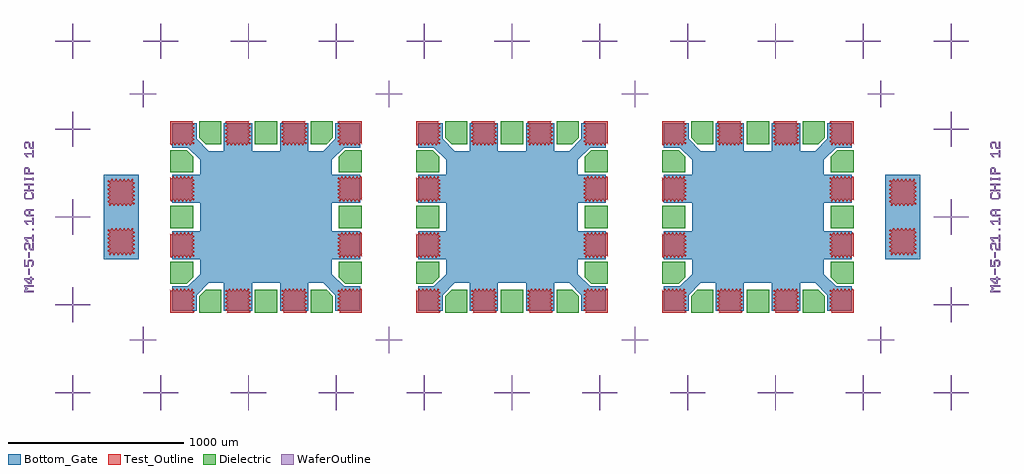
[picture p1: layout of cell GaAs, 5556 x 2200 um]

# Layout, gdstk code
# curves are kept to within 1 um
import gdstk
lib = gdstk.Library(unit=1e-6, precision=1e-09)
def R(c, l, rs):  # rectangles x0, y0, x1, y1
    for r in rs: c.add(gdstk.rectangle(r[:2], r[2:], *l))
def P(c, l, *ps):  # polygons
    for p in ps: c.add(gdstk.Polygon(p, *l))
WaferOutline = (1, 0)
Bottom_Gate = (2, 0)
Test_Outline = (3, 0)
Dielectric = (4, 0)

mesaohmicgate_ray = lib.new_cell('MesaOhmicGate_Ray')
P(mesaohmicgate_ray, Bottom_Gate, [(-535,-535),(-535,-395),(-444.498,-395),(-375,-325.502),(-375,-240),(-535,-240),(-535,-80),(-375,-80),(-375,80),(-535,80),(-535,240),(-375,240),(-375,325.502),(-444.498,395),(-535,395),(-535,535),(-395,535),(-395,444.498),(-325.502,375),(-240,375),(-240,535),(-80,535),(-80,375),(80,375),(80,535),(240,535),(240,375),(325.502,375),(395,444.498),(395,535),(535,535),(535,395),(444.498,395),(375,325.502),(375,240),(535,240),(535,80),(375,80),(375,-80),(535,-80),(535,-240),(375,-240),(375,-325.502),(444.498,-395),(535,-395),(535,-535),(395,-535),(395,-444.498),(325.502,-375),(240,-375),(240,-535),(80,-535),(80,-375),(-80,-375),(-80,-535),(-240,-535),(-240,-375),(-325.502,-375),(-395,-444.498),(-395,-535)])
P(mesaohmicgate_ray, Test_Outline, [(-539.747,408.008),(-545,415),(-545,545),(-415,545),(-421.367,541.061),(-421.615,538.434),(-408.938,530.556),(-408.197,527.929),(-420.702,520.051),(-421.929,517.424),(-409.71,509.545),(-408.008,506.919),(-421.992,496.414),(-420.29,493.788),(-408.938,487.222),(-408.197,484.596),(-420.702,476.717),(-421.929,474.091),(-409.71,466.212),(-408.008,463.586),(-421.992,453.081),(-420.29,450.455),(-408.071,442.576),(-409.298,439.949),(-420.702,433.384),(-421.929,430.758),(-409.71,422.879),(-408.633,418.939),(-415,415),(-418.939,421.367),(-421.566,421.615),(-430.758,408.071),(-433.384,409.298),(-439.949,420.702),(-442.576,421.929),(-450.455,409.71),(-453.081,408.008),(-463.586,421.992),(-466.212,420.29),(-474.091,408.071),(-476.717,409.298),(-483.283,420.702),(-485.909,421.929),(-493.788,409.71),(-496.414,408.008),(-506.919,421.992),(-509.545,420.29),(-517.424,408.071),(-520.051,409.298),(-526.616,420.702),(-529.242,421.929),(-537.121,409.71)],
  [(-219.747,408.008),(-225,415),(-218.633,418.939),(-218.385,421.566),(-231.929,430.758),(-230.702,433.384),(-219.298,439.949),(-218.071,442.576),(-230.29,450.455),(-231.992,453.081),(-218.008,463.586),(-219.71,466.212),(-231.929,474.091),(-230.702,476.717),(-219.298,483.283),(-218.071,485.909),(-230.29,493.788),(-231.992,496.414),(-218.008,506.919),(-219.71,509.545),(-231.929,517.424),(-230.702,520.051),(-219.298,526.616),(-218.071,529.242),(-230.29,537.121),(-231.367,541.061),(-225,545),(-95,545),(-101.367,541.061),(-101.615,538.434),(-88.938,530.556),(-88.197,527.929),(-100.702,520.051),(-101.929,517.424),(-89.71,509.545),(-88.008,506.919),(-101.992,496.414),(-100.29,493.788),(-88.938,487.222),(-88.197,484.596),(-100.702,476.717),(-101.929,474.091),(-89.71,466.212),(-88.008,463.586),(-101.992,453.081),(-100.29,450.455),(-88.071,442.576),(-89.298,439.949),(-100.702,433.384),(-101.929,430.758),(-89.71,422.879),(-88.633,418.939),(-95,415),(-98.939,421.367),(-101.566,421.615),(-110.758,408.071),(-113.384,409.298),(-119.949,420.702),(-122.576,421.929),(-130.455,409.71),(-133.081,408.008),(-143.586,421.992),(-146.212,420.29),(-154.091,408.071),(-156.717,409.298),(-163.283,420.702),(-165.909,421.929),(-173.788,409.71),(-176.414,408.008),(-186.919,421.992),(-189.545,420.29),(-197.424,408.071),(-200.051,409.298),(-206.616,420.702),(-209.242,421.929),(-217.121,409.71)],
  [(-225,-545),(-218.633,-541.061),(-218.385,-538.434),(-231.062,-530.556),(-231.803,-527.929),(-219.298,-520.051),(-218.071,-517.424),(-230.29,-509.545),(-231.992,-506.919),(-218.008,-496.414),(-219.71,-493.788),(-231.062,-487.222),(-231.803,-484.596),(-219.298,-476.717),(-218.071,-474.091),(-230.29,-466.212),(-231.992,-463.586),(-218.008,-453.081),(-219.71,-450.455),(-231.929,-442.576),(-230.702,-439.949),(-219.298,-433.384),(-218.071,-430.758),(-230.29,-422.879),(-231.367,-418.939),(-225,-415),(-221.061,-421.367),(-218.434,-421.615),(-209.242,-408.071),(-206.616,-409.298),(-200.051,-420.702),(-197.424,-421.929),(-189.545,-409.71),(-186.919,-408.008),(-176.414,-421.992),(-173.788,-420.29),(-165.909,-408.071),(-163.283,-409.298),(-156.717,-420.702),(-154.091,-421.929),(-146.212,-409.71),(-143.586,-408.008),(-133.081,-421.992),(-130.455,-420.29),(-122.576,-408.071),(-119.949,-409.298),(-113.384,-420.702),(-110.758,-421.929),(-102.879,-409.71),(-98.939,-408.633),(-95,-415),(-101.367,-418.939),(-101.615,-421.566),(-88.071,-430.758),(-89.298,-433.384),(-100.702,-439.949),(-101.929,-442.576),(-89.71,-450.455),(-88.008,-453.081),(-101.992,-463.586),(-100.29,-466.212),(-88.071,-474.091),(-89.298,-476.717),(-100.702,-483.283),(-101.929,-485.909),(-89.71,-493.788),(-88.008,-496.414),(-101.992,-506.919),(-100.29,-509.545),(-88.071,-517.424),(-89.298,-520.051),(-100.702,-526.616),(-101.929,-529.242),(-89.71,-537.121),(-88.633,-541.061),(-95,-545)],
  [(415,-545),(421.367,-541.061),(421.615,-538.434),(408.938,-530.556),(408.197,-527.929),(420.702,-520.051),(421.929,-517.424),(409.71,-509.545),(408.008,-506.919),(421.992,-496.414),(420.29,-493.788),(408.938,-487.222),(408.197,-484.596),(420.702,-476.717),(421.929,-474.091),(409.71,-466.212),(408.008,-463.586),(421.992,-453.081),(420.29,-450.455),(408.071,-442.576),(409.298,-439.949),(420.702,-433.384),(421.929,-430.758),(409.71,-422.879),(408.633,-418.939),(415,-415),(418.939,-421.367),(421.566,-421.615),(430.758,-408.071),(433.384,-409.298),(439.949,-420.702),(442.576,-421.929),(450.455,-409.71),(453.081,-408.008),(463.586,-421.992),(466.212,-420.29),(474.091,-408.071),(476.717,-409.298),(483.283,-420.702),(485.909,-421.929),(493.788,-409.71),(496.414,-408.008),(506.919,-421.992),(509.545,-420.29),(517.424,-408.071),(520.051,-409.298),(526.616,-420.702),(529.242,-421.929),(537.121,-409.71),(541.061,-408.633),(545,-415),(545,-545)],
  [(-539.747,88.008),(-545,95),(-545,225),(-541.061,218.633),(-538.434,218.385),(-530.556,231.062),(-527.929,231.803),(-520.051,219.298),(-517.424,218.071),(-509.545,230.29),(-506.919,231.992),(-496.414,218.008),(-493.788,219.71),(-487.222,231.062),(-484.596,231.803),(-476.717,219.298),(-474.091,218.071),(-466.212,230.29),(-463.586,231.992),(-453.081,218.008),(-450.455,219.71),(-442.576,231.929),(-439.949,230.702),(-433.384,219.298),(-430.758,218.071),(-422.879,230.29),(-418.939,231.367),(-415,225),(-421.367,221.061),(-421.615,218.434),(-408.071,209.242),(-409.298,206.616),(-420.702,200.051),(-421.929,197.424),(-409.71,189.545),(-408.008,186.919),(-421.992,176.414),(-420.29,173.788),(-408.071,165.909),(-409.298,163.283),(-420.702,156.717),(-421.929,154.091),(-409.71,146.212),(-408.008,143.586),(-421.992,133.081),(-420.29,130.455),(-408.071,122.576),(-409.298,119.949),(-420.702,113.384),(-421.929,110.758),(-409.71,102.879),(-408.633,98.939),(-415,95),(-418.939,101.367),(-421.566,101.615),(-430.758,88.071),(-433.384,89.298),(-439.949,100.702),(-442.576,101.929),(-450.455,89.71),(-453.081,88.008),(-463.586,101.992),(-466.212,100.29),(-474.091,88.071),(-476.717,89.298),(-483.283,100.702),(-485.909,101.929),(-493.788,89.71),(-496.414,88.008),(-506.919,101.992),(-509.545,100.29),(-517.424,88.071),(-520.051,89.298),(-526.616,100.702),(-529.242,101.929),(-537.121,89.71)],
  [(420.253,408.008),(415,415),(421.367,418.939),(421.615,421.566),(408.071,430.758),(409.298,433.384),(420.702,439.949),(421.929,442.576),(409.71,450.455),(408.008,453.081),(421.992,463.586),(420.29,466.212),(408.071,474.091),(409.298,476.717),(420.702,483.283),(421.929,485.909),(409.71,493.788),(408.008,496.414),(421.992,506.919),(420.29,509.545),(408.071,517.424),(409.298,520.051),(420.702,526.616),(421.929,529.242),(409.71,537.121),(408.633,541.061),(415,545),(545,545),(545,415),(541.061,421.367),(538.434,421.615),(530.556,408.938),(527.929,408.197),(520.051,420.702),(517.424,421.929),(509.545,409.71),(506.919,408.008),(496.414,421.992),(493.788,420.29),(487.222,408.938),(484.596,408.197),(476.717,420.702),(474.091,421.929),(466.212,409.71),(463.586,408.008),(453.081,421.992),(450.455,420.29),(442.576,408.071),(439.949,409.298),(433.384,420.702),(430.758,421.929),(422.879,409.71)],
  [(-539.747,-231.992),(-545,-225),(-545,-95),(-541.061,-101.367),(-538.434,-101.615),(-530.556,-88.938),(-527.929,-88.197),(-520.051,-100.702),(-517.424,-101.929),(-509.545,-89.71),(-506.919,-88.008),(-496.414,-101.992),(-493.788,-100.29),(-487.222,-88.938),(-484.596,-88.197),(-476.717,-100.702),(-474.091,-101.929),(-466.212,-89.71),(-463.586,-88.008),(-453.081,-101.992),(-450.455,-100.29),(-442.576,-88.071),(-439.949,-89.298),(-433.384,-100.702),(-430.758,-101.929),(-422.879,-89.71),(-418.939,-88.633),(-415,-95),(-421.367,-98.939),(-421.615,-101.566),(-408.071,-110.758),(-409.298,-113.384),(-420.702,-119.949),(-421.929,-122.576),(-409.71,-130.455),(-408.008,-133.081),(-421.992,-143.586),(-420.29,-146.212),(-408.071,-154.091),(-409.298,-156.717),(-420.702,-163.283),(-421.929,-165.909),(-409.71,-173.788),(-408.008,-176.414),(-421.992,-186.919),(-420.29,-189.545),(-408.071,-197.424),(-409.298,-200.051),(-420.702,-206.616),(-421.929,-209.242),(-409.71,-217.121),(-408.633,-221.061),(-415,-225),(-418.939,-218.633),(-421.566,-218.385),(-430.758,-231.929),(-433.384,-230.702),(-439.949,-219.298),(-442.576,-218.071),(-450.455,-230.29),(-453.081,-231.992),(-463.586,-218.008),(-466.212,-219.71),(-474.091,-231.929),(-476.717,-230.702),(-483.283,-219.298),(-485.909,-218.071),(-493.788,-230.29),(-496.414,-231.992),(-506.919,-218.008),(-509.545,-219.71),(-517.424,-231.929),(-520.051,-230.702),(-526.616,-219.298),(-529.242,-218.071),(-537.121,-230.29)],
  [(100.253,408.008),(95,415),(101.367,418.939),(101.615,421.566),(88.071,430.758),(89.298,433.384),(100.702,439.949),(101.929,442.576),(89.71,450.455),(88.008,453.081),(101.992,463.586),(100.29,466.212),(88.071,474.091),(89.298,476.717),(100.702,483.283),(101.929,485.909),(89.71,493.788),(88.008,496.414),(101.992,506.919),(100.29,509.545),(88.071,517.424),(89.298,520.051),(100.702,526.616),(101.929,529.242),(89.71,537.121),(88.633,541.061),(95,545),(225,545),(218.633,541.061),(218.385,538.434),(231.062,530.556),(231.803,527.929),(219.298,520.051),(218.071,517.424),(230.29,509.545),(231.992,506.919),(218.008,496.414),(219.71,493.788),(231.062,487.222),(231.803,484.596),(219.298,476.717),(218.071,474.091),(230.29,466.212),(231.992,463.586),(218.008,453.081),(219.71,450.455),(231.929,442.576),(230.702,439.949),(219.298,433.384),(218.071,430.758),(230.29,422.879),(231.367,418.939),(225,415),(221.061,421.367),(218.434,421.615),(209.242,408.071),(206.616,409.298),(200.051,420.702),(197.424,421.929),(189.545,409.71),(186.919,408.008),(176.414,421.992),(173.788,420.29),(165.909,408.071),(163.283,409.298),(156.717,420.702),(154.091,421.929),(146.212,409.71),(143.586,408.008),(133.081,421.992),(130.455,420.29),(122.576,408.071),(119.949,409.298),(113.384,420.702),(110.758,421.929),(102.879,409.71)],
  [(-545,-545),(-545,-415),(-541.061,-421.367),(-538.434,-421.615),(-530.556,-408.938),(-527.929,-408.197),(-520.051,-420.702),(-517.424,-421.929),(-509.545,-409.71),(-506.919,-408.008),(-496.414,-421.992),(-493.788,-420.29),(-487.222,-408.938),(-484.596,-408.197),(-476.717,-420.702),(-474.091,-421.929),(-466.212,-409.71),(-463.586,-408.008),(-453.081,-421.992),(-450.455,-420.29),(-442.576,-408.071),(-439.949,-409.298),(-433.384,-420.702),(-430.758,-421.929),(-422.879,-409.71),(-418.939,-408.633),(-415,-415),(-421.367,-418.939),(-421.615,-421.566),(-408.071,-430.758),(-409.298,-433.384),(-420.702,-439.949),(-421.929,-442.576),(-409.71,-450.455),(-408.008,-453.081),(-421.992,-463.586),(-420.29,-466.212),(-408.071,-474.091),(-409.298,-476.717),(-420.702,-483.283),(-421.929,-485.909),(-409.71,-493.788),(-408.008,-496.414),(-421.992,-506.919),(-420.29,-509.545),(-408.071,-517.424),(-409.298,-520.051),(-420.702,-526.616),(-421.929,-529.242),(-409.71,-537.121),(-408.633,-541.061),(-415,-545)],
  [(420.253,88.008),(415,95),(421.367,98.939),(421.615,101.566),(408.071,110.758),(409.298,113.384),(420.702,119.949),(421.929,122.576),(409.71,130.455),(408.008,133.081),(421.992,143.586),(420.29,146.212),(408.071,154.091),(409.298,156.717),(420.702,163.283),(421.929,165.909),(409.71,173.788),(408.008,176.414),(421.992,186.919),(420.29,189.545),(408.071,197.424),(409.298,200.051),(420.702,206.616),(421.929,209.242),(409.71,217.121),(408.633,221.061),(415,225),(418.939,218.633),(421.566,218.385),(430.758,231.929),(433.384,230.702),(439.949,219.298),(442.576,218.071),(450.455,230.29),(453.081,231.992),(463.586,218.008),(466.212,219.71),(474.091,231.929),(476.717,230.702),(483.283,219.298),(485.909,218.071),(493.788,230.29),(496.414,231.992),(506.919,218.008),(509.545,219.71),(517.424,231.929),(520.051,230.702),(526.616,219.298),(529.242,218.071),(537.121,230.29),(541.061,231.367),(545,225),(545,95),(541.061,101.367),(538.434,101.615),(530.556,88.938),(527.929,88.197),(520.051,100.702),(517.424,101.929),(509.545,89.71),(506.919,88.008),(496.414,101.992),(493.788,100.29),(487.222,88.938),(484.596,88.197),(476.717,100.702),(474.091,101.929),(466.212,89.71),(463.586,88.008),(453.081,101.992),(450.455,100.29),(442.576,88.071),(439.949,89.298),(433.384,100.702),(430.758,101.929),(422.879,89.71)],
  [(420.253,-231.992),(415,-225),(421.367,-221.061),(421.615,-218.434),(408.071,-209.242),(409.298,-206.616),(420.702,-200.051),(421.929,-197.424),(409.71,-189.545),(408.008,-186.919),(421.992,-176.414),(420.29,-173.788),(408.071,-165.909),(409.298,-163.283),(420.702,-156.717),(421.929,-154.091),(409.71,-146.212),(408.008,-143.586),(421.992,-133.081),(420.29,-130.455),(408.071,-122.576),(409.298,-119.949),(420.702,-113.384),(421.929,-110.758),(409.71,-102.879),(408.633,-98.939),(415,-95),(418.939,-101.367),(421.566,-101.615),(430.758,-88.071),(433.384,-89.298),(439.949,-100.702),(442.576,-101.929),(450.455,-89.71),(453.081,-88.008),(463.586,-101.992),(466.212,-100.29),(474.091,-88.071),(476.717,-89.298),(483.283,-100.702),(485.909,-101.929),(493.788,-89.71),(496.414,-88.008),(506.919,-101.992),(509.545,-100.29),(517.424,-88.071),(520.051,-89.298),(526.616,-100.702),(529.242,-101.929),(537.121,-89.71),(541.061,-88.633),(545,-95),(545,-225),(541.061,-218.633),(538.434,-218.385),(530.556,-231.062),(527.929,-231.803),(520.051,-219.298),(517.424,-218.071),(509.545,-230.29),(506.919,-231.992),(496.414,-218.008),(493.788,-219.71),(487.222,-231.062),(484.596,-231.803),(476.717,-219.298),(474.091,-218.071),(466.212,-230.29),(463.586,-231.992),(453.081,-218.008),(450.455,-219.71),(442.576,-231.929),(439.949,-230.702),(433.384,-219.298),(430.758,-218.071),(422.879,-230.29)],
  [(95,-545),(101.367,-541.061),(101.615,-538.434),(88.938,-530.556),(88.197,-527.929),(100.702,-520.051),(101.929,-517.424),(89.71,-509.545),(88.008,-506.919),(101.992,-496.414),(100.29,-493.788),(88.938,-487.222),(88.197,-484.596),(100.702,-476.717),(101.929,-474.091),(89.71,-466.212),(88.008,-463.586),(101.992,-453.081),(100.29,-450.455),(88.071,-442.576),(89.298,-439.949),(100.702,-433.384),(101.929,-430.758),(89.71,-422.879),(88.633,-418.939),(95,-415),(98.939,-421.367),(101.566,-421.615),(110.758,-408.071),(113.384,-409.298),(119.949,-420.702),(122.576,-421.929),(130.455,-409.71),(133.081,-408.008),(143.586,-421.992),(146.212,-420.29),(154.091,-408.071),(156.717,-409.298),(163.283,-420.702),(165.909,-421.929),(173.788,-409.71),(176.414,-408.008),(186.919,-421.992),(189.545,-420.29),(197.424,-408.071),(200.051,-409.298),(206.616,-420.702),(209.242,-421.929),(217.121,-409.71),(221.061,-408.633),(225,-415),(218.633,-418.939),(218.385,-421.566),(231.929,-430.758),(230.702,-433.384),(219.298,-439.949),(218.071,-442.576),(230.29,-450.455),(231.992,-453.081),(218.008,-463.586),(219.71,-466.212),(231.929,-474.091),(230.702,-476.717),(219.298,-483.283),(218.071,-485.909),(230.29,-493.788),(231.992,-496.414),(218.008,-506.919),(219.71,-509.545),(231.929,-517.424),(230.702,-520.051),(219.298,-526.616),(218.071,-529.242),(230.29,-537.121),(231.367,-541.061),(225,-545)])
R(mesaohmicgate_ray, Dielectric, [(-65,-545,65,-415), (-545,-65,-415,65), (415,-65,545,65), (-65,415,65,545)])
P(mesaohmicgate_ray, Dielectric, [(-344.29,415),(-380,450.71),(-380,545),(-255,545),(-255,415)],
  [(-545,255),(-545,380),(-450.71,380),(-415,344.29),(-415,255)],
  [(255,-545),(255,-415),(344.29,-415),(380,-450.71),(380,-545)],
  [(450.71,-380),(415,-344.29),(415,-255),(545,-255),(545,-380)],
  [(415,255),(415,344.29),(450.71,380),(545,380),(545,255)],
  [(255,415),(255,545),(380,545),(380,450.71),(344.29,415)],
  [(-545,-380),(-545,-255),(-415,-255),(-415,-344.29),(-450.71,-380)],
  [(-380,-545),(-380,-450.71),(-344.29,-415),(-255,-415),(-255,-545)],
  [(-491.375,309),(-491.375,309),(-491.375,309),(-491.375,309)])

gaas = lib.new_cell('GaAs')
R(gaas, WaferOutline, [(-2754,-328,-2746,-296), (2746,-328,2754,-296), (-2754,-232,-2746,-200), (2746,-232,2754,-200), (-2730,-76,-2722,-68), (2770,-76,2778,-68)])
P(gaas, WaferOutline, [(-2502.5,-1100),(-2502.5,-1002.5),(-2600,-1002.5),(-2600,-997.5),(-2502.5,-997.5),(-2502.5,-900),(-2497.5,-900),(-2497.5,-997.5),(-2400,-997.5),(-2400,-1002.5),(-2497.5,-1002.5),(-2497.5,-1100)],
  [(-2002.5,-1100),(-2002.5,-1002.5),(-2100,-1002.5),(-2100,-997.5),(-2002.5,-997.5),(-2002.5,-900),(-1997.5,-900),(-1997.5,-997.5),(-1900,-997.5),(-1900,-1002.5),(-1997.5,-1002.5),(-1997.5,-1100)],
  [(-1502.5,-1100),(-1502.5,-1002.5),(-1600,-1002.5),(-1600,-997.5),(-1502.5,-997.5),(-1502.5,-900),(-1497.5,-900),(-1497.5,-997.5),(-1400,-997.5),(-1400,-1002.5),(-1497.5,-1002.5),(-1497.5,-1100)],
  [(-1002.5,-1100),(-1002.5,-1002.5),(-1100,-1002.5),(-1100,-997.5),(-1002.5,-997.5),(-1002.5,-900),(-997.5,-900),(-997.5,-997.5),(-900,-997.5),(-900,-1002.5),(-997.5,-1002.5),(-997.5,-1100)],
  [(-502.5,-1100),(-502.5,-1002.5),(-600,-1002.5),(-600,-997.5),(-502.5,-997.5),(-502.5,-900),(-497.5,-900),(-497.5,-997.5),(-400,-997.5),(-400,-1002.5),(-497.5,-1002.5),(-497.5,-1100)],
  [(-2.5,-1100),(-2.5,-1002.5),(-100,-1002.5),(-100,-997.5),(-2.5,-997.5),(-2.5,-900),(2.5,-900),(2.5,-997.5),(100,-997.5),(100,-1002.5),(2.5,-1002.5),(2.5,-1100)],
  [(497.5,-1100),(497.5,-1002.5),(400,-1002.5),(400,-997.5),(497.5,-997.5),(497.5,-900),(502.5,-900),(502.5,-997.5),(600,-997.5),(600,-1002.5),(502.5,-1002.5),(502.5,-1100)],
  [(997.5,-1100),(997.5,-1002.5),(900,-1002.5),(900,-997.5),(997.5,-997.5),(997.5,-900),(1002.5,-900),(1002.5,-997.5),(1100,-997.5),(1100,-1002.5),(1002.5,-1002.5),(1002.5,-1100)],
  [(1497.5,-1100),(1497.5,-1002.5),(1400,-1002.5),(1400,-997.5),(1497.5,-997.5),(1497.5,-900),(1502.5,-900),(1502.5,-997.5),(1600,-997.5),(1600,-1002.5),(1502.5,-1002.5),(1502.5,-1100)],
  [(1997.5,-1100),(1997.5,-1002.5),(1900,-1002.5),(1900,-997.5),(1997.5,-997.5),(1997.5,-900),(2002.5,-900),(2002.5,-997.5),(2100,-997.5),(2100,-1002.5),(2002.5,-1002.5),(2002.5,-1100)],
  [(2497.5,-1100),(2497.5,-1002.5),(2400,-1002.5),(2400,-997.5),(2497.5,-997.5),(2497.5,-900),(2502.5,-900),(2502.5,-997.5),(2600,-997.5),(2600,-1002.5),(2502.5,-1002.5),(2502.5,-1100)],
  [(-2102.5,-775),(-2102.5,-702.5),(-2175,-702.5),(-2175,-697.5),(-2102.5,-697.5),(-2102.5,-625),(-2097.5,-625),(-2097.5,-697.5),(-2025,-697.5),(-2025,-702.5),(-2097.5,-702.5),(-2097.5,-775)],
  [(-702.5,-775),(-702.5,-702.5),(-775,-702.5),(-775,-697.5),(-702.5,-697.5),(-702.5,-625),(-697.5,-625),(-697.5,-697.5),(-625,-697.5),(-625,-702.5),(-697.5,-702.5),(-697.5,-775)],
  [(697.5,-775),(697.5,-702.5),(625,-702.5),(625,-697.5),(697.5,-697.5),(697.5,-625),(702.5,-625),(702.5,-697.5),(775,-697.5),(775,-702.5),(702.5,-702.5),(702.5,-775)],
  [(2097.5,-775),(2097.5,-702.5),(2025,-702.5),(2025,-697.5),(2097.5,-697.5),(2097.5,-625),(2102.5,-625),(2102.5,-697.5),(2175,-697.5),(2175,-702.5),(2102.5,-702.5),(2102.5,-775)],
  [(-2502.5,-600),(-2502.5,-502.5),(-2600,-502.5),(-2600,-497.5),(-2502.5,-497.5),(-2502.5,-400),(-2497.5,-400),(-2497.5,-497.5),(-2400,-497.5),(-2400,-502.5),(-2497.5,-502.5),(-2497.5,-600)],
  [(2497.5,-600),(2497.5,-502.5),(2400,-502.5),(2400,-497.5),(2497.5,-497.5),(2497.5,-400),(2502.5,-400),(2502.5,-497.5),(2600,-497.5),(2600,-502.5),(2502.5,-502.5),(2502.5,-600)],
  [(-2778,-428),(-2778,-420),(-2770,-412),(-2770,-404),(-2778,-396),(-2778,-388),(-2722,-388),(-2722,-396),(-2762,-396),(-2762,-400),(-2754,-408),(-2762,-416),(-2762,-420),(-2722,-420),(-2722,-428)],
  [(2722,-428),(2722,-420),(2730,-412),(2730,-404),(2722,-396),(2722,-388),(2778,-388),(2778,-396),(2738,-396),(2738,-400),(2746,-408),(2738,-416),(2738,-420),(2778,-420),(2778,-428)],
  [(-2754,-380),(-2778,-356),(-2762,-356),(-2762,-360),(-2750,-372),(-2742,-372),(-2742,-356),(-2778,-356),(-2778,-348),(-2742,-348),(-2742,-340),(-2734,-340),(-2734,-348),(-2722,-348),(-2722,-356),(-2734,-356),(-2734,-380)],
  [(2746,-380),(2722,-356),(2738,-356),(2738,-360),(2750,-372),(2758,-372),(2758,-356),(2722,-356),(2722,-348),(2758,-348),(2758,-340),(2766,-340),(2766,-348),(2778,-348),(2778,-356),(2766,-356),(2766,-380)],
  [(-2778,-284),(-2778,-244),(-2770,-244),(-2770,-276),(-2758,-276),(-2758,-252),(-2750,-244),(-2730,-244),(-2722,-252),(-2722,-276),(-2730,-284),(-2738,-284),(-2738,-276),(-2734,-276),(-2730,-272),(-2730,-256),(-2734,-252),(-2746,-252),(-2750,-256),(-2750,-284)],
  [(2722,-284),(2722,-244),(2730,-244),(2730,-276),(2742,-276),(2742,-252),(2750,-244),(2770,-244),(2778,-252),(2778,-276),(2770,-284),(2762,-284),(2762,-276),(2766,-276),(2770,-272),(2770,-256),(2766,-252),(2754,-252),(2750,-256),(2750,-284)],
  [(-2770,-188),(-2778,-180),(-2778,-156),(-2770,-148),(-2750,-148),(-2742,-156),(-2742,-176),(-2738,-180),(-2730,-180),(-2730,-148),(-2722,-148),(-2722,-188),(-2742,-188),(-2750,-180),(-2750,-160),(-2754,-156),(-2766,-156),(-2770,-160),(-2770,-176),(-2766,-180),(-2762,-180),(-2762,-188)],
  [(2730,-188),(2722,-180),(2722,-156),(2730,-148),(2750,-148),(2758,-156),(2758,-176),(2762,-180),(2770,-180),(2770,-148),(2778,-148),(2778,-188),(2758,-188),(2750,-180),(2750,-160),(2746,-156),(2734,-156),(2730,-160),(2730,-176),(2734,-180),(2738,-180),(2738,-188)],
  [(-2762,-140),(-2778,-124),(-2778,-116),(-2730,-116),(-2730,-100),(-2722,-100),(-2722,-140),(-2730,-140),(-2730,-124),(-2762,-124),(-2762,-128),(-2754,-136),(-2754,-140)],
  [(2738,-140),(2722,-124),(2722,-116),(2770,-116),(2770,-100),(2778,-100),(2778,-140),(2770,-140),(2770,-124),(2738,-124),(2738,-128),(2746,-136),(2746,-140)],
  [(-2762,-44),(-2778,-28),(-2778,-20),(-2730,-20),(-2730,-4),(-2722,-4),(-2722,-44),(-2730,-44),(-2730,-28),(-2762,-28),(-2762,-32),(-2754,-40),(-2754,-44)],
  [(2738,-44),(2722,-28),(2722,-20),(2770,-20),(2770,-4),(2778,-4),(2778,-44),(2770,-44),(2770,-28),(2738,-28),(2738,-32),(2746,-40),(2746,-44)],
  [(-2766,4),(-2778,16),(-2778,32),(-2774,36),(-2762,36),(-2770,28),(-2770,20),(-2762,12),(-2750,12),(-2750,36),(-2774,36),(-2766,44),(-2722,44),(-2722,36),(-2742,36),(-2742,12),(-2722,12),(-2722,4)],
  [(2734,4),(2722,16),(2722,32),(2726,36),(2738,36),(2730,28),(2730,20),(2738,12),(2750,12),(2750,36),(2726,36),(2734,44),(2778,44),(2778,36),(2758,36),(2758,12),(2778,12),(2778,4)],
  [(-2502.5,-100),(-2502.5,-2.5),(-2600,-2.5),(-2600,2.5),(-2502.5,2.5),(-2502.5,100),(-2497.5,100),(-2497.5,2.5),(-2400,2.5),(-2400,-2.5),(-2497.5,-2.5),(-2497.5,-100)],
  [(2497.5,-100),(2497.5,-2.5),(2400,-2.5),(2400,2.5),(2497.5,2.5),(2497.5,100),(2502.5,100),(2502.5,2.5),(2600,2.5),(2600,-2.5),(2502.5,-2.5),(2502.5,-100)],
  [(-2770,100),(-2778,108),(-2778,132),(-2770,140),(-2762,140),(-2762,132),(-2766,132),(-2770,128),(-2770,112),(-2766,108),(-2734,108),(-2730,112),(-2730,128),(-2734,132),(-2738,132),(-2738,140),(-2730,140),(-2722,132),(-2722,108),(-2730,100)],
  [(2730,100),(2722,108),(2722,132),(2730,140),(2738,140),(2738,132),(2734,132),(2730,128),(2730,112),(2734,108),(2766,108),(2770,112),(2770,128),(2766,132),(2762,132),(2762,140),(2770,140),(2778,132),(2778,108),(2770,100)],
  [(-2778,148),(-2778,156),(-2754,156),(-2754,180),(-2778,180),(-2778,188),(-2722,188),(-2722,180),(-2746,180),(-2746,156),(-2722,156),(-2722,148)],
  [(2722,148),(2722,156),(2746,156),(2746,180),(2722,180),(2722,188),(2778,188),(2778,180),(2754,180),(2754,156),(2778,156),(2778,148)],
  [(-2778,208),(-2778,224),(-2770,224),(-2770,220),(-2730,220),(-2730,224),(-2722,224),(-2722,208),(-2730,208),(-2730,212),(-2770,212),(-2770,208)],
  [(2722,208),(2722,224),(2730,224),(2730,220),(2770,220),(2770,224),(2778,224),(2778,208),(2770,208),(2770,212),(2730,212),(2730,208)],
  [(-2778,244),(-2778,276),(-2766,276),(-2770,272),(-2770,252),(-2754,252),(-2754,272),(-2758,276),(-2778,276),(-2770,284),(-2754,284),(-2746,276),(-2746,252),(-2722,252),(-2722,244)],
  [(2722,244),(2722,276),(2734,276),(2730,272),(2730,252),(2746,252),(2746,272),(2742,276),(2722,276),(2730,284),(2746,284),(2754,276),(2754,252),(2778,252),(2778,244)],
  [(-2762,340),(-2778,356),(-2778,364),(-2730,364),(-2730,380),(-2722,380),(-2722,340),(-2730,340),(-2730,356),(-2762,356),(-2762,352),(-2754,344),(-2754,340)],
  [(2738,340),(2722,356),(2722,364),(2770,364),(2770,380),(2778,380),(2778,340),(2770,340),(2770,356),(2738,356),(2738,352),(2746,344),(2746,340)],
  [(-2770,388),(-2778,396),(-2778,420),(-2770,428),(-2750,428),(-2742,420),(-2742,400),(-2738,396),(-2730,396),(-2730,428),(-2722,428),(-2722,388),(-2742,388),(-2750,396),(-2750,416),(-2754,420),(-2766,420),(-2770,416),(-2770,400),(-2766,396),(-2762,396),(-2762,388)],
  [(2730,388),(2722,396),(2722,420),(2730,428),(2750,428),(2758,420),(2758,400),(2762,396),(2770,396),(2770,428),(2778,428),(2778,388),(2758,388),(2750,396),(2750,416),(2746,420),(2734,420),(2730,416),(2730,400),(2734,396),(2738,396),(2738,388)],
  [(-2502.5,400),(-2502.5,497.5),(-2600,497.5),(-2600,502.5),(-2502.5,502.5),(-2502.5,600),(-2497.5,600),(-2497.5,502.5),(-2400,502.5),(-2400,497.5),(-2497.5,497.5),(-2497.5,400)],
  [(2497.5,400),(2497.5,497.5),(2400,497.5),(2400,502.5),(2497.5,502.5),(2497.5,600),(2502.5,600),(2502.5,502.5),(2600,502.5),(2600,497.5),(2502.5,497.5),(2502.5,400)],
  [(-2102.5,625),(-2102.5,697.5),(-2175,697.5),(-2175,702.5),(-2102.5,702.5),(-2102.5,775),(-2097.5,775),(-2097.5,702.5),(-2025,702.5),(-2025,697.5),(-2097.5,697.5),(-2097.5,625)],
  [(-702.5,625),(-702.5,697.5),(-775,697.5),(-775,702.5),(-702.5,702.5),(-702.5,775),(-697.5,775),(-697.5,702.5),(-625,702.5),(-625,697.5),(-697.5,697.5),(-697.5,625)],
  [(697.5,625),(697.5,697.5),(625,697.5),(625,702.5),(697.5,702.5),(697.5,775),(702.5,775),(702.5,702.5),(775,702.5),(775,697.5),(702.5,697.5),(702.5,625)],
  [(2097.5,625),(2097.5,697.5),(2025,697.5),(2025,702.5),(2097.5,702.5),(2097.5,775),(2102.5,775),(2102.5,702.5),(2175,702.5),(2175,697.5),(2102.5,697.5),(2102.5,625)],
  [(-2502.5,900),(-2502.5,997.5),(-2600,997.5),(-2600,1002.5),(-2502.5,1002.5),(-2502.5,1100),(-2497.5,1100),(-2497.5,1002.5),(-2400,1002.5),(-2400,997.5),(-2497.5,997.5),(-2497.5,900)],
  [(-2002.5,900),(-2002.5,997.5),(-2100,997.5),(-2100,1002.5),(-2002.5,1002.5),(-2002.5,1100),(-1997.5,1100),(-1997.5,1002.5),(-1900,1002.5),(-1900,997.5),(-1997.5,997.5),(-1997.5,900)],
  [(-1502.5,900),(-1502.5,997.5),(-1600,997.5),(-1600,1002.5),(-1502.5,1002.5),(-1502.5,1100),(-1497.5,1100),(-1497.5,1002.5),(-1400,1002.5),(-1400,997.5),(-1497.5,997.5),(-1497.5,900)],
  [(-1002.5,900),(-1002.5,997.5),(-1100,997.5),(-1100,1002.5),(-1002.5,1002.5),(-1002.5,1100),(-997.5,1100),(-997.5,1002.5),(-900,1002.5),(-900,997.5),(-997.5,997.5),(-997.5,900)],
  [(-502.5,900),(-502.5,997.5),(-600,997.5),(-600,1002.5),(-502.5,1002.5),(-502.5,1100),(-497.5,1100),(-497.5,1002.5),(-400,1002.5),(-400,997.5),(-497.5,997.5),(-497.5,900)],
  [(-2.5,900),(-2.5,997.5),(-100,997.5),(-100,1002.5),(-2.5,1002.5),(-2.5,1100),(2.5,1100),(2.5,1002.5),(100,1002.5),(100,997.5),(2.5,997.5),(2.5,900)],
  [(497.5,900),(497.5,997.5),(400,997.5),(400,1002.5),(497.5,1002.5),(497.5,1100),(502.5,1100),(502.5,1002.5),(600,1002.5),(600,997.5),(502.5,997.5),(502.5,900)],
  [(997.5,900),(997.5,997.5),(900,997.5),(900,1002.5),(997.5,1002.5),(997.5,1100),(1002.5,1100),(1002.5,1002.5),(1100,1002.5),(1100,997.5),(1002.5,997.5),(1002.5,900)],
  [(1497.5,900),(1497.5,997.5),(1400,997.5),(1400,1002.5),(1497.5,1002.5),(1497.5,1100),(1502.5,1100),(1502.5,1002.5),(1600,1002.5),(1600,997.5),(1502.5,997.5),(1502.5,900)],
  [(1997.5,900),(1997.5,997.5),(1900,997.5),(1900,1002.5),(1997.5,1002.5),(1997.5,1100),(2002.5,1100),(2002.5,1002.5),(2100,1002.5),(2100,997.5),(2002.5,997.5),(2002.5,900)],
  [(2497.5,900),(2497.5,997.5),(2400,997.5),(2400,1002.5),(2497.5,1002.5),(2497.5,1100),(2502.5,1100),(2502.5,1002.5),(2600,1002.5),(2600,997.5),(2502.5,997.5),(2502.5,900)])
R(gaas, Bottom_Gate, [(-2325,-240,-2125,240), (2125,-240,2325,240)])
P(gaas, Test_Outline, [(2160.657,63.008),(2155,70),(2161.367,74.242),(2161.615,77.071),(2148.071,86.97),(2149.298,89.798),(2160.702,96.869),(2161.929,99.697),(2149.71,108.182),(2148.008,111.01),(2161.992,122.323),(2160.29,125.152),(2148.071,133.636),(2149.298,136.465),(2160.702,143.535),(2161.929,146.364),(2149.71,154.848),(2148.008,157.677),(2161.992,168.99),(2160.29,171.818),(2148.071,180.303),(2149.298,183.131),(2160.702,190.202),(2161.929,193.03),(2149.71,201.515),(2148.633,205.758),(2155,210),(2159.242,203.633),(2162.071,203.385),(2171.97,216.929),(2174.798,215.702),(2181.869,204.298),(2184.697,203.071),(2193.182,215.29),(2196.01,216.992),(2207.323,203.008),(2210.152,204.71),(2218.636,216.929),(2221.465,215.702),(2228.535,204.298),(2231.364,203.071),(2239.848,215.29),(2242.677,216.992),(2253.99,203.008),(2256.818,204.71),(2265.303,216.929),(2268.131,215.702),(2275.202,204.298),(2278.03,203.071),(2286.515,215.29),(2290.758,216.367),(2295,210),(2288.633,205.758),(2288.385,202.929),(2301.929,193.03),(2300.702,190.202),(2289.298,183.131),(2288.071,180.303),(2300.29,171.818),(2301.992,168.99),(2288.008,157.677),(2289.71,154.848),(2301.929,146.364),(2300.702,143.535),(2289.298,136.465),(2288.071,133.636),(2300.29,125.152),(2301.992,122.323),(2288.008,111.01),(2289.71,108.182),(2301.929,99.697),(2300.702,96.869),(2289.298,89.798),(2288.071,86.97),(2300.29,78.485),(2301.367,74.242),(2295,70),(2290.758,76.367),(2287.929,76.615),(2278.03,63.071),(2275.202,64.298),(2268.131,75.702),(2265.303,76.929),(2256.818,64.71),(2253.99,63.008),(2242.677,76.992),(2239.848,75.29),(2231.364,63.071),(2228.535,64.298),(2221.465,75.702),(2218.636,76.929),(2210.152,64.71),(2207.323,63.008),(2196.01,76.992),(2193.182,75.29),(2184.697,63.071),(2181.869,64.298),(2174.798,75.702),(2171.97,76.929),(2163.485,64.71)],
  [(2160.657,-216.992),(2155,-210),(2161.367,-205.758),(2161.615,-202.929),(2148.071,-193.03),(2149.298,-190.202),(2160.702,-183.131),(2161.929,-180.303),(2149.71,-171.818),(2148.008,-168.99),(2161.992,-157.677),(2160.29,-154.848),(2148.071,-146.364),(2149.298,-143.535),(2160.702,-136.465),(2161.929,-133.636),(2149.71,-125.152),(2148.008,-122.323),(2161.992,-111.01),(2160.29,-108.182),(2148.071,-99.697),(2149.298,-96.869),(2160.702,-89.798),(2161.929,-86.97),(2149.71,-78.485),(2148.633,-74.242),(2155,-70),(2159.242,-76.367),(2162.071,-76.615),(2171.97,-63.071),(2174.798,-64.298),(2181.869,-75.702),(2184.697,-76.929),(2193.182,-64.71),(2196.01,-63.008),(2207.323,-76.992),(2210.152,-75.29),(2218.636,-63.071),(2221.465,-64.298),(2228.535,-75.702),(2231.364,-76.929),(2239.848,-64.71),(2242.677,-63.008),(2253.99,-76.992),(2256.818,-75.29),(2265.303,-63.071),(2268.131,-64.298),(2275.202,-75.702),(2278.03,-76.929),(2286.515,-64.71),(2290.758,-63.633),(2295,-70),(2288.633,-74.242),(2288.385,-77.071),(2301.929,-86.97),(2300.702,-89.798),(2289.298,-96.869),(2288.071,-99.697),(2300.29,-108.182),(2301.992,-111.01),(2288.008,-122.323),(2289.71,-125.152),(2301.929,-133.636),(2300.702,-136.465),(2289.298,-143.535),(2288.071,-146.364),(2300.29,-154.848),(2301.992,-157.677),(2288.008,-168.99),(2289.71,-171.818),(2301.929,-180.303),(2300.702,-183.131),(2289.298,-190.202),(2288.071,-193.03),(2300.29,-201.515),(2301.367,-205.758),(2295,-210),(2290.758,-203.633),(2287.929,-203.385),(2278.03,-216.929),(2275.202,-215.702),(2268.131,-204.298),(2265.303,-203.071),(2256.818,-215.29),(2253.99,-216.992),(2242.677,-203.008),(2239.848,-204.71),(2231.364,-216.929),(2228.535,-215.702),(2221.465,-204.298),(2218.636,-203.071),(2210.152,-215.29),(2207.323,-216.992),(2196.01,-203.008),(2193.182,-204.71),(2184.697,-216.929),(2181.869,-215.702),(2174.798,-204.298),(2171.97,-203.071),(2163.485,-215.29)],
  [(-2289.343,63.008),(-2295,70),(-2288.633,74.242),(-2288.385,77.071),(-2301.929,86.97),(-2300.702,89.798),(-2289.298,96.869),(-2288.071,99.697),(-2300.29,108.182),(-2301.992,111.01),(-2288.008,122.323),(-2289.71,125.152),(-2301.929,133.636),(-2300.702,136.465),(-2289.298,143.535),(-2288.071,146.364),(-2300.29,154.848),(-2301.992,157.677),(-2288.008,168.99),(-2289.71,171.818),(-2301.929,180.303),(-2300.702,183.131),(-2289.298,190.202),(-2288.071,193.03),(-2300.29,201.515),(-2301.367,205.758),(-2295,210),(-2290.758,203.633),(-2287.929,203.385),(-2278.03,216.929),(-2275.202,215.702),(-2268.131,204.298),(-2265.303,203.071),(-2256.818,215.29),(-2253.99,216.992),(-2242.677,203.008),(-2239.848,204.71),(-2231.364,216.929),(-2228.535,215.702),(-2221.465,204.298),(-2218.636,203.071),(-2210.152,215.29),(-2207.323,216.992),(-2196.01,203.008),(-2193.182,204.71),(-2184.697,216.929),(-2181.869,215.702),(-2174.798,204.298),(-2171.97,203.071),(-2163.485,215.29),(-2159.242,216.367),(-2155,210),(-2161.367,205.758),(-2161.615,202.929),(-2148.071,193.03),(-2149.298,190.202),(-2160.702,183.131),(-2161.929,180.303),(-2149.71,171.818),(-2148.008,168.99),(-2161.992,157.677),(-2160.29,154.848),(-2148.071,146.364),(-2149.298,143.535),(-2160.702,136.465),(-2161.929,133.636),(-2149.71,125.152),(-2148.008,122.323),(-2161.992,111.01),(-2160.29,108.182),(-2148.071,99.697),(-2149.298,96.869),(-2160.702,89.798),(-2161.929,86.97),(-2149.71,78.485),(-2148.633,74.242),(-2155,70),(-2159.242,76.367),(-2162.071,76.615),(-2171.97,63.071),(-2174.798,64.298),(-2181.869,75.702),(-2184.697,76.929),(-2193.182,64.71),(-2196.01,63.008),(-2207.323,76.992),(-2210.152,75.29),(-2218.636,63.071),(-2221.465,64.298),(-2228.535,75.702),(-2231.364,76.929),(-2239.848,64.71),(-2242.677,63.008),(-2253.99,76.992),(-2256.818,75.29),(-2265.303,63.071),(-2268.131,64.298),(-2275.202,75.702),(-2278.03,76.929),(-2286.515,64.71)],
  [(-2289.343,-216.992),(-2295,-210),(-2288.633,-205.758),(-2288.385,-202.929),(-2301.929,-193.03),(-2300.702,-190.202),(-2289.298,-183.131),(-2288.071,-180.303),(-2300.29,-171.818),(-2301.992,-168.99),(-2288.008,-157.677),(-2289.71,-154.848),(-2301.929,-146.364),(-2300.702,-143.535),(-2289.298,-136.465),(-2288.071,-133.636),(-2300.29,-125.152),(-2301.992,-122.323),(-2288.008,-111.01),(-2289.71,-108.182),(-2301.929,-99.697),(-2300.702,-96.869),(-2289.298,-89.798),(-2288.071,-86.97),(-2300.29,-78.485),(-2301.367,-74.242),(-2295,-70),(-2290.758,-76.367),(-2287.929,-76.615),(-2278.03,-63.071),(-2275.202,-64.298),(-2268.131,-75.702),(-2265.303,-76.929),(-2256.818,-64.71),(-2253.99,-63.008),(-2242.677,-76.992),(-2239.848,-75.29),(-2231.364,-63.071),(-2228.535,-64.298),(-2221.465,-75.702),(-2218.636,-76.929),(-2210.152,-64.71),(-2207.323,-63.008),(-2196.01,-76.992),(-2193.182,-75.29),(-2184.697,-63.071),(-2181.869,-64.298),(-2174.798,-75.702),(-2171.97,-76.929),(-2163.485,-64.71),(-2159.242,-63.633),(-2155,-70),(-2161.367,-74.242),(-2161.615,-77.071),(-2148.071,-86.97),(-2149.298,-89.798),(-2160.702,-96.869),(-2161.929,-99.697),(-2149.71,-108.182),(-2148.008,-111.01),(-2161.992,-122.323),(-2160.29,-125.152),(-2148.071,-133.636),(-2149.298,-136.465),(-2160.702,-143.535),(-2161.929,-146.364),(-2149.71,-154.848),(-2148.008,-157.677),(-2161.992,-168.99),(-2160.29,-171.818),(-2148.071,-180.303),(-2149.298,-183.131),(-2160.702,-190.202),(-2161.929,-193.03),(-2149.71,-201.515),(-2148.633,-205.758),(-2155,-210),(-2159.242,-203.633),(-2162.071,-203.385),(-2171.97,-216.929),(-2174.798,-215.702),(-2181.869,-204.298),(-2184.697,-203.071),(-2193.182,-215.29),(-2196.01,-216.992),(-2207.323,-203.008),(-2210.152,-204.71),(-2218.636,-216.929),(-2221.465,-215.702),(-2228.535,-204.298),(-2231.364,-203.071),(-2239.848,-215.29),(-2242.677,-216.992),(-2253.99,-203.008),(-2256.818,-204.71),(-2265.303,-216.929),(-2268.131,-215.702),(-2275.202,-204.298),(-2278.03,-203.071),(-2286.515,-215.29)])
r = gdstk.Reference(mesaohmicgate_ray, (-1400,0)); r.repetition = gdstk.Repetition(3, 1, v1=(1400,0), v2=(0,0)); gaas.add(r)

lib.write_gds('GaAs.gds')
